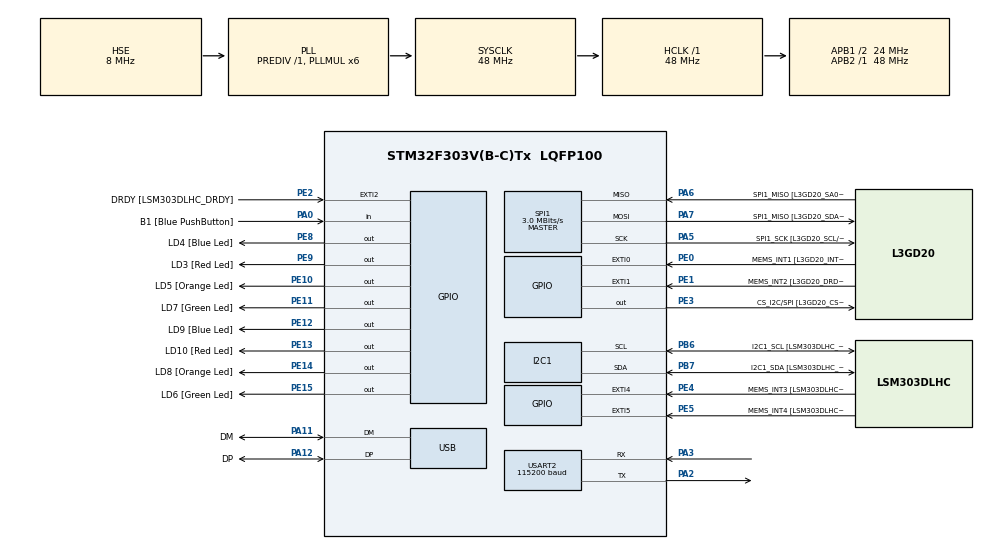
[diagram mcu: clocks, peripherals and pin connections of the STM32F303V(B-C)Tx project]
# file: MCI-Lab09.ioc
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I2C1.Timing=0x00201D2B
I2C1.Timing-I2C=0x2000090E
Mcu.Family=STM32F3
Mcu.Name=STM32F303V(B-C)Tx
Mcu.Package=LQFP100
NVIC.PriorityGroup=NVIC_PRIORITYGROUP_0
PA0.GPIO_Label=B1 [Blue PushButton]
PA0.Signal=GPIO_Input
PA11.GPIO_Label=DM
PA11.Mode=Device
PA11.Signal=USB_DM
PA12.GPIO_Label=DP
PA12.Mode=Device
PA12.Signal=USB_DP
PA13.GPIO_Label=SWDIO
PA13.Mode=Serial_Wire
PA13.Signal=SYS_JTMS-SWDIO
PA14.GPIO_Label=SWCLK
PA14.Mode=Serial_Wire
PA14.Signal=SYS_JTCK-SWCLK
PA2.Mode=Asynchronous
PA2.Signal=USART2_TX
PA3.Mode=Asynchronous
PA3.Signal=USART2_RX
PA5.GPIO_Label=SPI1_SCK [L3GD20_SCL/SPC]
PA5.Mode=Full_Duplex_Master
PA5.Signal=SPI1_SCK
PA6.GPIO_Label=SPI1_MISO [L3GD20_SA0/SDO]
PA6.Mode=Full_Duplex_Master
PA6.Signal=SPI1_MISO
PA7.GPIO_Label=SPI1_MISO [L3GD20_SDA/SDI/SDO]
PA7.Mode=Full_Duplex_Master
PA7.Signal=SPI1_MOSI
PB3.GPIO_Label=SWO
PB3.Signal=SYS_JTDO-TRACESWO
PB6.GPIO_Label=I2C1_SCL [LSM303DLHC_SCL]
PB6.GPIO_Pu=GPIO_PULLUP
PB6.Mode=I2C
PB6.Signal=I2C1_SCL
PB7.GPIO_Label=I2C1_SDA [LSM303DLHC_SDA]
PB7.GPIO_Pu=GPIO_PULLUP
PB7.Mode=I2C
PB7.Signal=I2C1_SDA
PC14-OSC32_IN.GPIO_Label=OSC32_IN
PC14-OSC32_IN.Signal=RCC_OSC32_IN
PC15-OSC32_OUT.GPIO_Label=OSC32_OUT
PC15-OSC32_OUT.Signal=RCC_OSC32_OUT
PE0.GPIO_Label=MEMS_INT1 [L3GD20_INT1]
PE0.GPIO_ModeDefaultEXTI=GPIO_MODE_EVT_RISING
PE0.Signal=GPXTI0
PE1.GPIO_Label=MEMS_INT2 [L3GD20_DRDY/INT2]
PE1.GPIO_ModeDefaultEXTI=GPIO_MODE_EVT_RISING
PE1.Signal=GPXTI1
PE10.GPIO_Label=LD5 [Orange Led]
PE10.Signal=GPIO_Output
PE11.GPIO_Label=LD7 [Green Led]
PE11.Signal=GPIO_Output
PE12.GPIO_Label=LD9 [Blue Led]
PE12.Signal=GPIO_Output
PE13.GPIO_Label=LD10 [Red Led]
PE13.Signal=GPIO_Output
PE14.GPIO_Label=LD8 [Orange Led]
PE14.Signal=GPIO_Output
PE15.GPIO_Label=LD6 [Green Led]
PE15.Signal=GPIO_Output
PE2.GPIO_Label=DRDY [LSM303DLHC_DRDY]
PE2.GPIO_ModeDefaultEXTI=GPIO_MODE_EVT_RISING
PE2.Signal=GPXTI2
PE3.GPIO_Label=CS_I2C/SPI [L3GD20_CS_I2C/SPI]
PE3.Signal=GPIO_Output
PE4.GPIO_Label=MEMS_INT3 [LSM303DLHC_INT1]
PE4.GPIO_ModeDefaultEXTI=GPIO_MODE_EVT_RISING
PE4.Signal=GPXTI4
PE5.GPIO_Label=MEMS_INT4 [LSM303DLHC_INT2]
PE5.GPIO_ModeDefaultEXTI=GPIO_MODE_EVT_RISING
PE5.Signal=GPXTI5
PE8.GPIO_Label=LD4 [Blue Led]
PE8.Signal=GPIO_Output
PE9.GPIO_Label=LD3 [Red Led]
PE9.Signal=GPIO_Output
PF0-OSC_IN.GPIO_Label=OSC_IN
PF0-OSC_IN.Mode=HSE-External-Clock-Source
PF0-OSC_IN.Signal=RCC_OSC_IN
PF1-OSC_OUT.GPIO_Label=OSC_OUT
PF1-OSC_OUT.Signal=RCC_OSC_OUT
ProjectManager.HeapSize=0x200
ProjectManager.StackSize=0x400
ProjectManager.TargetToolchain=CMake
RCC.AHBFreq_Value=48000000
RCC.APB1CLKDivider=RCC_HCLK_DIV2
RCC.APB1Freq_Value=24000000
RCC.APB1TimFreq_Value=48000000
RCC.APB2Freq_Value=48000000
RCC.APB2TimFreq_Value=48000000
RCC.CortexFreq_Value=48000000
RCC.HCLKFreq_Value=48000000
RCC.HSE_VALUE=8000000
RCC.HSI_VALUE=8000000
RCC.LSE_VALUE=32768
RCC.PLLMUL=RCC_PLL_MUL6
RCC.SYSCLKFreq_VALUE=48000000
RCC.SYSCLKSourceVirtual=RCC_SYSCLKSOURCE_PLLCLK
RCC.USBFreq_Value=48000000
SPI1.BaudRatePrescaler=SPI_BAUDRATEPRESCALER_16
SPI1.CLKPhase=SPI_PHASE_2EDGE
SPI1.CLKPolarity=SPI_POLARITY_HIGH
SPI1.CalculateBaudRate=3.0 MBits/s
SPI1.DataSize=SPI_DATASIZE_8BIT
SPI1.Direction=SPI_DIRECTION_2LINES
SPI1.Mode=SPI_MODE_MASTER
SPI1.VirtualType=VM_MASTER
USART2.BaudRate=115200
USART2.VirtualMode-Asynchronous=VM_ASYNC
board=STM32F3DISCOVERY

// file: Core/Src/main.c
/* USER CODE BEGIN Header */
/**
  ******************************************************************************
  * @file           : main.c
  * @brief          : Main program body
  ******************************************************************************
  * @attention
  *
  * Copyright (c) 2026 STMicroelectronics.
  * All rights reserved.
  *
  * This software is licensed under terms that can be found in the LICENSE file
  * in the root directory of this software component.
  * If no LICENSE file comes with this software, it is provided AS-IS.
  *
  ******************************************************************************
  */
/* USER CODE END Header */
#include "main.h"

/* USER CODE BEGIN Includes */
#include <stdio.h>
#include <string.h>
#include <math.h>
/* USER CODE END Includes */

/* USER CODE BEGIN PTD */
typedef struct {
    int16_t raw_ax, raw_ay, raw_az;
    float ax, ay, az;
    float acc_offset_x, acc_offset_y, acc_offset_z;
    float gx, gy, gz;
    float gyro_offset_x, gyro_offset_y, gyro_offset_z;
    float angle;
} LSM_Data;
/* USER CODE END PTD */

/* USER CODE BEGIN PD */
#define LSM_ADDR_W     0x32
#define LSM_ADDR_R     0x33
#define CTRL_REG1_A    0x20
#define CTRL_REG4_A    0x23
#define OUT_X_L_A      0xA8   // 0x28 | 0x80
#define OUT_Y_L_A      0xAA   // 0x2A | 0x80
#define OUT_Z_L_A      0xAC   // 0x2C | 0x80
#define RAD_TO_DEG     57.2958f
/* USER CODE END PD */

I2C_HandleTypeDef hi2c1;

SPI_HandleTypeDef hspi1;

UART_HandleTypeDef huart2;

PCD_HandleTypeDef hpcd_USB_FS;

/* USER CODE BEGIN PV */
LSM_Data lsm = {0};
char msg[100];
/* USER CODE END PV */

void SystemClock_Config(void);
static void MX_GPIO_Init(void);
static void MX_I2C1_Init(void);
static void MX_SPI1_Init(void);
static void MX_USART2_UART_Init(void);
static void MX_USB_PCD_Init(void);
/* USER CODE BEGIN PFP */
void Init_LSM(void);
void Offset_LSM(void);
void Read_LSM(void);
void Print_LSM(void);
void gyro_init(void);
void Read_Gyro(void);
void gyro_reader(uint8_t reg, uint8_t *rx);

/* USER CODE END PFP */

/* USER CODE BEGIN 0 */
void Read_Gyro(void) {
    uint8_t xH, xL, yH, yL, zH, zL;
    gyro_reader(0x29, &xH);
    gyro_reader(0x28, &xL);
    gyro_reader(0x2B, &yH);
    gyro_reader(0x2A, &yL);
    gyro_reader(0x2D, &zH);
    gyro_reader(0x2C, &zL);

    int16_t gx = (int16_t)(xH << 8 | xL);
    int16_t gy = (int16_t)(yH << 8 | yL);
    int16_t gz = (int16_t)(zH << 8 | zL);

    lsm.gx = (gx * 0.00875f) - lsm.gyro_offset_x;
    lsm.gy = (gy * 0.00875f) - lsm.gyro_offset_y;
    lsm.gz = (gz * 0.00875f) - lsm.gyro_offset_z;
}
void gyro_reader(uint8_t reg, uint8_t *rx) {
    uint8_t tx = 0x80 | reg;
    HAL_GPIO_WritePin(GPIOE, GPIO_PIN_3, GPIO_PIN_RESET);
    HAL_SPI_Transmit(&hspi1, &tx, 1, HAL_MAX_DELAY);
    HAL_SPI_Receive(&hspi1, rx, 1, HAL_MAX_DELAY);
    HAL_GPIO_WritePin(GPIOE, GPIO_PIN_3, GPIO_PIN_SET);
}

void gyro_init(void) {
    uint8_t tx[2] = {0x20, 0x0F};
    HAL_GPIO_WritePin(GPIOE, GPIO_PIN_3, GPIO_PIN_RESET);
    HAL_SPI_Transmit(&hspi1, tx, 2, HAL_MAX_DELAY);
    HAL_GPIO_WritePin(GPIOE, GPIO_PIN_3, GPIO_PIN_SET);
}
/* USER CODE END 0 */
int main(void)
{

  /* MCU Configuration--------------------------------------------------------*/

  /* Reset of all peripherals, Initializes the Flash interface and the Systick. */
  HAL_Init();

  /* Configure the system clock */
  SystemClock_Config();

  /* Initialize all configured peripherals */
  MX_GPIO_Init();
  MX_I2C1_Init();
  MX_SPI1_Init();
  MX_USART2_UART_Init();
  MX_USB_PCD_Init();
  /* USER CODE BEGIN 2 */
  // // Task 1 : Who am I register
  // uint8_t who_am_i = 0;
  // char msg[50];
  // HAL_I2C_Mem_Read(&hi2c1, 0x33, 0x0F, I2C_MEMADD_SIZE_8BIT, &who_am_i, 1, 100);

  // Task2
  HAL_Delay(500); // Wait for sensor to stabilize
  Init_LSM();
  gyro_init();
  Offset_LSM();

  /* USER CODE END 2 */

  /* Infinite loop */
  while (1)
  {

    /* USER CODE BEGIN 3 */
    // // TAsk 1 : Who am I register
    // sprintf(msg, "WHO_AM_I = 0x%02X\r\n", who_am_i);
    // HAL_UART_Transmit(&huart2, (uint8_t*)msg, strlen(msg), 100);

    //Task2
    Read_Gyro();
    Read_LSM();
    Print_LSM();
    HAL_Delay(100);
  }
  /* USER CODE END 3 */
}

void SystemClock_Config(void)
{
  RCC_OscInitTypeDef RCC_OscInitStruct = {0};
  RCC_ClkInitTypeDef RCC_ClkInitStruct = {0};
  RCC_PeriphCLKInitTypeDef PeriphClkInit = {0};

  /** Initializes the RCC Oscillators according to the specified parameters
  * in the RCC_OscInitTypeDef structure.
  */
  RCC_OscInitStruct.OscillatorType = RCC_OSCILLATORTYPE_HSI|RCC_OSCILLATORTYPE_HSE;
  RCC_OscInitStruct.HSEState = RCC_HSE_BYPASS;
  RCC_OscInitStruct.HSEPredivValue = RCC_HSE_PREDIV_DIV1;
  RCC_OscInitStruct.HSIState = RCC_HSI_ON;
  RCC_OscInitStruct.HSICalibrationValue = RCC_HSICALIBRATION_DEFAULT;
  RCC_OscInitStruct.PLL.PLLState = RCC_PLL_ON;
  RCC_OscInitStruct.PLL.PLLSource = RCC_PLLSOURCE_HSE;
  RCC_OscInitStruct.PLL.PLLMUL = RCC_PLL_MUL6;
  if (HAL_RCC_OscConfig(&RCC_OscInitStruct) != HAL_OK)
  {
    Error_Handler();
  }

  /** Initializes the CPU, AHB and APB buses clocks
  */
  RCC_ClkInitStruct.ClockType = RCC_CLOCKTYPE_HCLK|RCC_CLOCKTYPE_SYSCLK
                              |RCC_CLOCKTYPE_PCLK1|RCC_CLOCKTYPE_PCLK2;
  RCC_ClkInitStruct.SYSCLKSource = RCC_SYSCLKSOURCE_PLLCLK;
  RCC_ClkInitStruct.AHBCLKDivider = RCC_SYSCLK_DIV1;
  RCC_ClkInitStruct.APB1CLKDivider = RCC_HCLK_DIV2;
  RCC_ClkInitStruct.APB2CLKDivider = RCC_HCLK_DIV1;

  if (HAL_RCC_ClockConfig(&RCC_ClkInitStruct, FLASH_LATENCY_1) != HAL_OK)
  {
    Error_Handler();
  }
  PeriphClkInit.PeriphClockSelection = RCC_PERIPHCLK_USB|RCC_PERIPHCLK_USART2
                              |RCC_PERIPHCLK_I2C1;
  PeriphClkInit.Usart2ClockSelection = RCC_USART2CLKSOURCE_PCLK1;
  PeriphClkInit.I2c1ClockSelection = RCC_I2C1CLKSOURCE_HSI;
  PeriphClkInit.USBClockSelection = RCC_USBCLKSOURCE_PLL;
  if (HAL_RCCEx_PeriphCLKConfig(&PeriphClkInit) != HAL_OK)
  {
    Error_Handler();
  }
}

static void MX_I2C1_Init(void)
{

  hi2c1.Instance = I2C1;
  hi2c1.Init.Timing = 0x00201D2B;
  hi2c1.Init.OwnAddress1 = 0;
  hi2c1.Init.AddressingMode = I2C_ADDRESSINGMODE_7BIT;
  hi2c1.Init.DualAddressMode = I2C_DUALADDRESS_DISABLE;
  hi2c1.Init.OwnAddress2 = 0;
  hi2c1.Init.OwnAddress2Masks = I2C_OA2_NOMASK;
  hi2c1.Init.GeneralCallMode = I2C_GENERALCALL_DISABLE;
  hi2c1.Init.NoStretchMode = I2C_NOSTRETCH_DISABLE;
  if (HAL_I2C_Init(&hi2c1) != HAL_OK)
  {
    Error_Handler();
  }

  /** Configure Analogue filter
  */
  if (HAL_I2CEx_ConfigAnalogFilter(&hi2c1, I2C_ANALOGFILTER_ENABLE) != HAL_OK)
  {
    Error_Handler();
  }

  /** Configure Digital filter
  */
  if (HAL_I2CEx_ConfigDigitalFilter(&hi2c1, 0) != HAL_OK)
  {
    Error_Handler();
  }

}

static void MX_SPI1_Init(void)
{

  /* SPI1 parameter configuration*/
  hspi1.Instance = SPI1;
  hspi1.Init.Mode = SPI_MODE_MASTER;
  hspi1.Init.Direction = SPI_DIRECTION_2LINES;
  hspi1.Init.DataSize = SPI_DATASIZE_8BIT;
  hspi1.Init.CLKPolarity = SPI_POLARITY_HIGH;
  hspi1.Init.CLKPhase = SPI_PHASE_2EDGE;
  hspi1.Init.NSS = SPI_NSS_SOFT;
  hspi1.Init.BaudRatePrescaler = SPI_BAUDRATEPRESCALER_16;
  hspi1.Init.FirstBit = SPI_FIRSTBIT_MSB;
  hspi1.Init.TIMode = SPI_TIMODE_DISABLE;
  hspi1.Init.CRCCalculation = SPI_CRCCALCULATION_DISABLE;
  hspi1.Init.CRCPolynomial = 7;
  hspi1.Init.CRCLength = SPI_CRC_LENGTH_DATASIZE;
  hspi1.Init.NSSPMode = SPI_NSS_PULSE_DISABLE;
  if (HAL_SPI_Init(&hspi1) != HAL_OK)
  {
    Error_Handler();
  }

}

static void MX_USART2_UART_Init(void)
{

  huart2.Instance = USART2;
  huart2.Init.BaudRate = 115200;
  huart2.Init.WordLength = UART_WORDLENGTH_8B;
  huart2.Init.StopBits = UART_STOPBITS_1;
  huart2.Init.Parity = UART_PARITY_NONE;
  huart2.Init.Mode = UART_MODE_TX_RX;
  huart2.Init.HwFlowCtl = UART_HWCONTROL_NONE;
  huart2.Init.OverSampling = UART_OVERSAMPLING_16;
  huart2.Init.OneBitSampling = UART_ONE_BIT_SAMPLE_DISABLE;
  huart2.AdvancedInit.AdvFeatureInit = UART_ADVFEATURE_NO_INIT;
  if (HAL_UART_Init(&huart2) != HAL_OK)
  {
    Error_Handler();
  }

}

static void MX_USB_PCD_Init(void)
{

  hpcd_USB_FS.Instance = USB;
  hpcd_USB_FS.Init.dev_endpoints = 8;
  hpcd_USB_FS.Init.speed = PCD_SPEED_FULL;
  hpcd_USB_FS.Init.phy_itface = PCD_PHY_EMBEDDED;
  hpcd_USB_FS.Init.low_power_enable = DISABLE;
  hpcd_USB_FS.Init.battery_charging_enable = DISABLE;
  if (HAL_PCD_Init(&hpcd_USB_FS) != HAL_OK)
  {
    Error_Handler();
  }

}

static void MX_GPIO_Init(void)
{
  GPIO_InitTypeDef GPIO_InitStruct = {0};

  /* GPIO Ports Clock Enable */
  __HAL_RCC_GPIOE_CLK_ENABLE();
  __HAL_RCC_GPIOC_CLK_ENABLE();
  __HAL_RCC_GPIOF_CLK_ENABLE();
  __HAL_RCC_GPIOA_CLK_ENABLE();
  __HAL_RCC_GPIOB_CLK_ENABLE();

  /*Configure GPIO pin Output Level */
  HAL_GPIO_WritePin(GPIOE, CS_I2C_SPI_Pin|LD4_Pin|LD3_Pin|LD5_Pin
                          |LD7_Pin|LD9_Pin|LD10_Pin|LD8_Pin
                          |LD6_Pin, GPIO_PIN_RESET);

  /*Configure GPIO pins : DRDY_Pin MEMS_INT3_Pin MEMS_INT4_Pin MEMS_INT1_Pin
                           MEMS_INT2_Pin */
  GPIO_InitStruct.Pin = DRDY_Pin|MEMS_INT3_Pin|MEMS_INT4_Pin|MEMS_INT1_Pin
                          |MEMS_INT2_Pin;
  GPIO_InitStruct.Mode = GPIO_MODE_EVT_RISING;
  GPIO_InitStruct.Pull = GPIO_NOPULL;
  HAL_GPIO_Init(GPIOE, &GPIO_InitStruct);

  /*Configure GPIO pins : CS_I2C_SPI_Pin LD4_Pin LD3_Pin LD5_Pin
                           LD7_Pin LD9_Pin LD10_Pin LD8_Pin
                           LD6_Pin */
  GPIO_InitStruct.Pin = CS_I2C_SPI_Pin|LD4_Pin|LD3_Pin|LD5_Pin
                          |LD7_Pin|LD9_Pin|LD10_Pin|LD8_Pin
                          |LD6_Pin;
  GPIO_InitStruct.Mode = GPIO_MODE_OUTPUT_PP;
  GPIO_InitStruct.Pull = GPIO_NOPULL;
  GPIO_InitStruct.Speed = GPIO_SPEED_FREQ_LOW;
  HAL_GPIO_Init(GPIOE, &GPIO_InitStruct);

  /*Configure GPIO pin : B1_Pin */
  GPIO_InitStruct.Pin = B1_Pin;
  GPIO_InitStruct.Mode = GPIO_MODE_INPUT;
  GPIO_InitStruct.Pull = GPIO_NOPULL;
  HAL_GPIO_Init(B1_GPIO_Port, &GPIO_InitStruct);

}

/* USER CODE BEGIN 4 */
void Init_LSM(void)
{
    uint8_t data;
    data = 0x67;
    HAL_I2C_Mem_Write(&hi2c1, LSM_ADDR_W, CTRL_REG1_A,
                      I2C_MEMADD_SIZE_8BIT, &data, 1, 100);
    data = 0x00;
    HAL_I2C_Mem_Write(&hi2c1, LSM_ADDR_W, CTRL_REG4_A,
                      I2C_MEMADD_SIZE_8BIT, &data, 1, 100);
}

void Read_LSM(void)
{
    uint8_t buf[6];

    HAL_I2C_Mem_Read(&hi2c1, LSM_ADDR_R, 0xA8,
                     I2C_MEMADD_SIZE_8BIT, buf, 6, 100);

    lsm.raw_ax = (int16_t)(buf[1] << 8 | buf[0]);
    lsm.raw_ay = (int16_t)(buf[3] << 8 | buf[2]);
    lsm.raw_az = (int16_t)(buf[5] << 8 | buf[4]);

    lsm.ax = (lsm.raw_ax * 3.9f / 1000.0f) - lsm.acc_offset_x;
    lsm.ay = (lsm.raw_ay * 3.9f / 1000.0f) - lsm.acc_offset_y;
    lsm.az = (lsm.raw_az * 3.9f / 1000.0f) - lsm.acc_offset_z + 1.0f;

    float acc_angle = atan2f(lsm.ax, lsm.az) * RAD_TO_DEG;
    lsm.angle = 0.98f * (lsm.angle + lsm.gy *0.1f ) + 0.02f * acc_angle;
}

void Offset_LSM(void)
{
    uint8_t buf[6];
    float sum_gx = 0, sum_gy = 0, sum_gz = 0;
    float sum_x = 0, sum_y = 0, sum_z = 0;
    int samples = 200;

    for (int i = 0; i < samples; i++) {
        HAL_I2C_Mem_Read(&hi2c1, LSM_ADDR_R, 0xA8,
                         I2C_MEMADD_SIZE_8BIT, buf, 6, 100);

        sum_x += (int16_t)(buf[1] << 8 | buf[0]) * 3.9f / 1000.0f;
        sum_y += (int16_t)(buf[3] << 8 | buf[2]) * 3.9f / 1000.0f;
        sum_z += (int16_t)(buf[5] << 8 | buf[4]) * 3.9f / 1000.0f;

        uint8_t xH, xL, yH, yL, zH, zL;
        gyro_reader(0x29, &xH);
        gyro_reader(0x28, &xL);
        gyro_reader(0x2B, &yH);
        gyro_reader(0x2A, &yL);
        gyro_reader(0x2D, &zH);
        gyro_reader(0x2C, &zL);
        sum_gx += (int16_t)(xH << 8 | xL) * 0.00875f;
        sum_gy += (int16_t)(yH << 8 | yL) * 0.00875f;
        sum_gz += (int16_t)(zH << 8 | zL) * 0.00875f;
        HAL_Delay(10);
      }

    lsm.gyro_offset_x = sum_gx / samples;
    lsm.gyro_offset_y = sum_gy / samples;
    lsm.gyro_offset_z = sum_gz / samples;
    lsm.acc_offset_x = sum_x / samples;
    lsm.acc_offset_y = sum_y / samples;
    lsm.acc_offset_z = (sum_z / samples);
}
void Print_LSM(void)
{   // // Task 2 : prnt all axis gyro and accel
    // sprintf(msg, "%.2f,%.2f,%.2f,%.2f,%.2f,%.2f\r\n",
    //         lsm.ax, lsm.ay, lsm.az,
    //         lsm.gx, lsm.gy, lsm.gz);
    // HAL_UART_Transmit(&huart2, (uint8_t*)msg, strlen(msg), 100);

    // plot x axis gyro accel and angle
    sprintf(msg, "%.2f,%.2f,%.2f\r\n",
        lsm.ax, lsm.gy, lsm.angle);
    HAL_UART_Transmit(&huart2, (uint8_t*)msg, strlen(msg), 100);

}
/* USER CODE END 4 */

void Error_Handler(void)
{
  __disable_irq();
  while (1)
  {
  }
}
